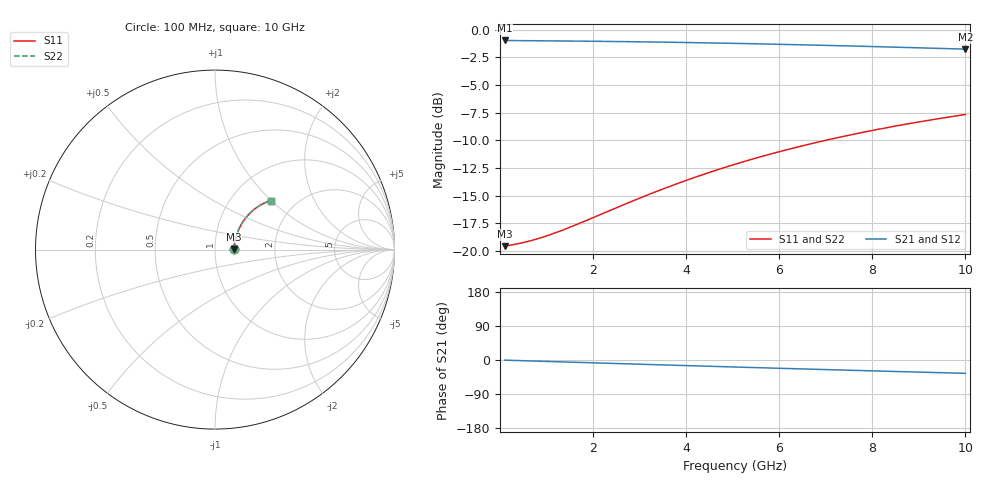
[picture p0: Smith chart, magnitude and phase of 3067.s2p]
# Hz S RI R 50.00
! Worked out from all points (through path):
!   100 points, 100 MHz to 10 GHz, reference 50 ohm
!   highest |S21| = -0.96 dB at 100 MHz (marker M1); lowest = -1.7 dB at 10 GHz (marker M2)
!   group delay of S21, straight-line fit = 9.79 ps
!   lowest |S11| = -19.6 dB at 100 MHz (marker M3), VSWR 1.23, Z = 61.7 + j0.486 ohm
!   |S11| at or under -10 dB: start of sweep to 7.003 GHz
!   |S22| runs from -19.6 to -7.7 dB; largest |S21 - S12| = 0
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1e8  0.1048 0.00389  0.8952 -0.00584  0.8952 -0.00584  0.1048 0.00389
3e8  0.1061 0.0116  0.8939 -0.0175  0.8939 -0.0175  0.1061 0.0116
5e8  0.1071 0.0194  0.8928 -0.0291  0.8928 -0.0291  0.1071 0.0194
7e8  0.1083 0.027  0.8916 -0.0407  0.8916 -0.0407  0.1083 0.027
9e8  0.1095 0.0347  0.8903 -0.0522  0.8903 -0.0522  0.1095 0.0347
1.1e9  0.1109 0.0423  0.8889 -0.0638  0.8889 -0.0638  0.1109 0.0423
1.3e9  0.1124 0.0499  0.8873 -0.0752  0.8873 -0.0752  0.1124 0.0499
1.8e9  0.1169 0.0685  0.8824 -0.1037  0.8824 -0.1037  0.1169 0.0685
2.8e9  0.1292 0.1046  0.8692 -0.1593  0.8692 -0.1593  0.1292 0.1046
3.4e9  0.1385 0.1252  0.8591 -0.1917  0.8591 -0.1917  0.1385 0.1252
3.8e9  0.1456 0.1385  0.8515 -0.2127  0.8515 -0.2127  0.1456 0.1385
4.2e9  0.1533 0.1513  0.8432 -0.2334  0.8432 -0.2334  0.1533 0.1513
4.6e9  0.1615 0.1636  0.8342 -0.2535  0.8342 -0.2535  0.1615 0.1636
5.1e9  0.1726 0.1783  0.8221 -0.278  0.8221 -0.278  0.1726 0.1783
5.5e9  0.182 0.1894  0.8119 -0.297  0.8119 -0.297  0.182 0.1894
5.9e9  0.1918 0.2  0.8011 -0.3155  0.8011 -0.3155  0.1918 0.2
6.3e9  0.2021 0.2099  0.7898 -0.3334  0.7898 -0.3334  0.2021 0.2099
6.7e9  0.2128 0.2193  0.778 -0.3507  0.778 -0.3507  0.2128 0.2193
7.5e9  0.2352 0.2363  0.7533 -0.3835  0.7533 -0.3835  0.2352 0.2363
8.4e9  0.2616 0.2524  0.7239 -0.4175  0.7239 -0.4175  0.2616 0.2524
9.2e9  0.2859 0.2641  0.6967 -0.4452  0.6967 -0.4452  0.2859 0.2641
1e10  0.3106 0.2733  0.6688 -0.4705  0.6688 -0.4705  0.3106 0.2733
